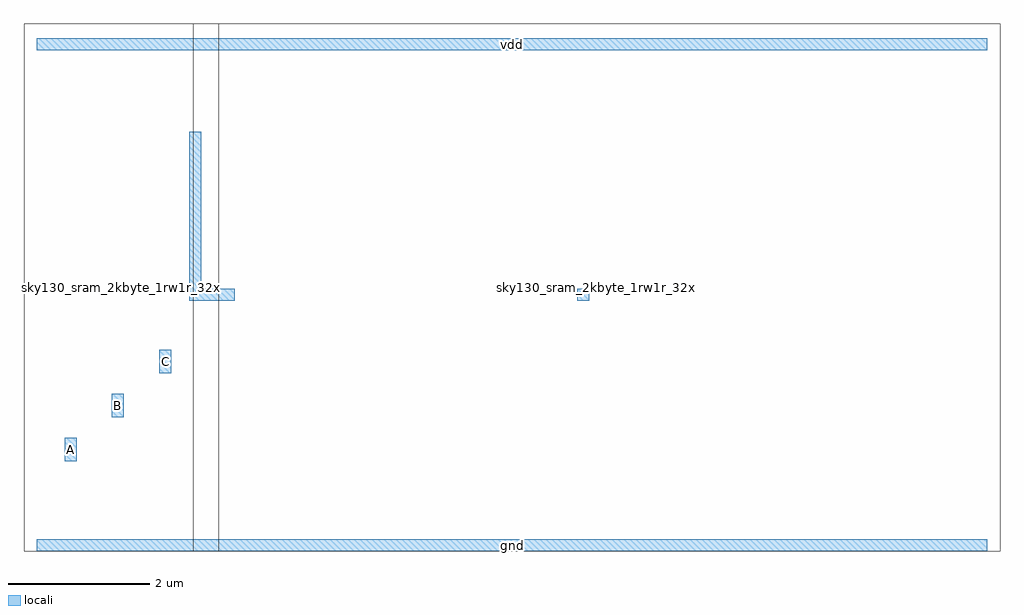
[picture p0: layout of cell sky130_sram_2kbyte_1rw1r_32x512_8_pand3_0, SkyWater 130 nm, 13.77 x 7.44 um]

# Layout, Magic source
magic
tech sky130A
magscale 1 2
<< locali >>
rect 0 1397 2682 1431
rect 430 724 464 1167
rect 430 690 559 724
rect 1525 690 1559 724
rect 345 485 379 551
rect 212 361 246 427
rect 79 237 113 303
rect 0 -17 2682 17
use sky130_sram_2kbyte_1rw1r_32x512_8_pdriver_5  sky130_sram_2kbyte_1rw1r_32x512_8_pdriver_5_0
transform 1 0 478 0 1 0
box -36 -17 2240 1471
use sky130_sram_2kbyte_1rw1r_32x512_8_pnand3  sky130_sram_2kbyte_1rw1r_32x512_8_pnand3_0
transform 1 0 0 0 1 0
box -36 -17 514 1471
<< labels >>
rlabel locali s 1542 707 1542 707 4 Z
port 1 nsew
rlabel locali s 96 270 96 270 4 A
port 2 nsew
rlabel locali s 229 394 229 394 4 B
port 3 nsew
rlabel locali s 362 518 362 518 4 C
port 4 nsew
rlabel locali s 1341 0 1341 0 4 gnd
port 5 nsew
rlabel locali s 1341 1414 1341 1414 4 vdd
port 6 nsew
<< properties >>
string FIXED_BBOX 0 0 2682 1414
string GDS_FILE $PDKPATH/libs.ref/sky130_sram_macros/gds/sky130_sram_2kbyte_1rw1r_32x512_8.gds
string GDS_END 10971436
string GDS_START 10970188
<< end >>
